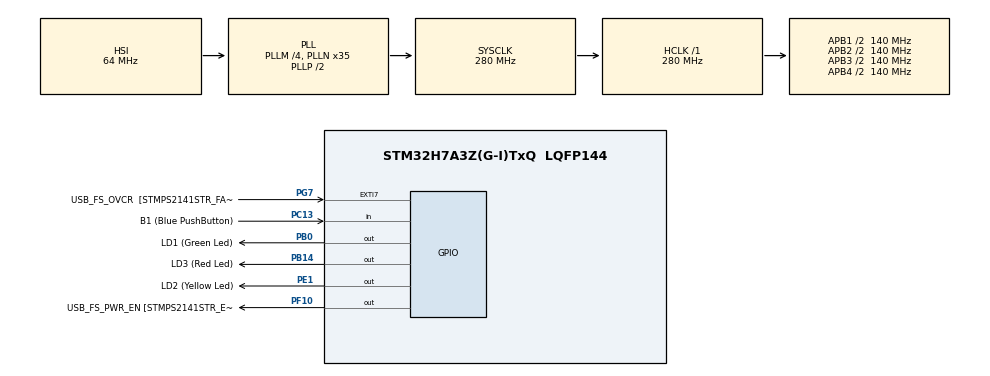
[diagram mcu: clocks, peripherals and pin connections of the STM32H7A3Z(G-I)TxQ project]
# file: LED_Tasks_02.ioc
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Mcu.Family=STM32H7
Mcu.Name=STM32H7A3Z(G-I)TxQ
Mcu.Package=LQFP144
NVIC.PriorityGroup=NVIC_PRIORITYGROUP_4
NVIC.TIM6_DAC_IRQn=true\:15\:0\:false\:false\:true\:false\:true\:true
NVIC.TimeBase=TIM6_DAC_IRQn
NVIC.TimeBaseIP=TIM6
PA10.GPIO_Label=USB_FS_ID [ZX62RD-AB-5P8_ID]
PA10.Signal=USB_OTG_HS_ID
PA11.GPIO_Label=USB_FS_N [USBLC6-2SC6_IO_1]
PA11.Signal=USB_OTG_HS_DM
PA12.GPIO_Label=USB_FS_P [USBLC6-2SC6_IO_2]
PA12.Signal=USB_OTG_HS_DP
PA9.GPIO_Label=USB_FS_VBUS  [ZX62RD-AB-5P8_VBUS]
PA9.Signal=USB_OTG_HS_VBUS
PB0.GPIO_Label=LD1 (Green Led)
PB0.Signal=GPIO_Output
PB14.GPIO_Label=LD3 (Red Led)
PB14.Signal=GPIO_Output
PC13.GPIO_Label=B1 (Blue PushButton)
PC13.Signal=GPIO_Input
PC14-OSC32_IN.GPIO_Label=OSC32_IN
PC14-OSC32_IN.Signal=RCC_OSC32_IN
PC15-OSC32_OUT.GPIO_Label=OSC32_OUT
PC15-OSC32_OUT.Signal=RCC_OSC32_OUT
PD8.GPIO_Label=STLINK_RX
PD8.Signal=USART3_TX
PD9.GPIO_Label=STLINK_TX
PD9.Signal=USART3_RX
PE1.GPIO_Label=LD2 (Yellow Led)
PE1.Signal=GPIO_Output
PF10.GPIO_Label=USB_FS_PWR_EN [STMPS2141STR_EN]
PF10.Signal=GPIO_Output
PG7.GPIO_Label=USB_FS_OVCR  [STMPS2141STR_FAULT]
PG7.Signal=GPXTI7
PH0-OSC_IN.GPIO_Label=PH0-MCU
PH0-OSC_IN.Signal=RCC_OSC_IN
PH1-OSC_OUT.GPIO_Label=PH1-MCU
PH1-OSC_OUT.Signal=RCC_OSC_OUT
ProjectManager.HeapSize=0x200
ProjectManager.StackSize=0x400
ProjectManager.TargetToolchain=STM32CubeIDE
RCC.ADCFreq_Value=129000000
RCC.APB1Freq_Value=140000000
RCC.APB2Freq_Value=140000000
RCC.APB3Freq_Value=140000000
RCC.APB4Freq_Value=140000000
RCC.CDPPRE=RCC_APB3_DIV2
RCC.CDPPRE1=RCC_APB1_DIV2
RCC.CDPPRE2=RCC_APB2_DIV2
RCC.CortexFreq_Value=280000000
RCC.DIVM1=4
RCC.DIVM3=1
RCC.DIVN1=35
RCC.DIVN3=24
RCC.DIVQ1=4
RCC.HCLKFreq_Value=280000000
RCC.HSE_VALUE=8000000
RCC.PLLFRACN=0
RCC.PWR_Regulator_Voltage_Scale=PWR_REGULATOR_VOLTAGE_SCALE0
RCC.SRDPPRE=RCC_APB4_DIV2
RCC.SYSCLKFreq_VALUE=280000000
RCC.SYSCLKSource=RCC_SYSCLKSOURCE_PLLCLK
RCC.SupplySource=PWR_DIRECT_SMPS_SUPPLY
RCC.USBCLockSelection=RCC_USBCLKSOURCE_HSI48
RCC.USBFreq_Value=48000000
VP_SYS_VS_tim6.Mode=TIM6
board=NUCLEO-H7A3ZI-Q

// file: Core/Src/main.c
/* USER CODE BEGIN Header */
/**
  ******************************************************************************
  * @file           : main.c
  * @brief          : Main program body
  ******************************************************************************
  * @attention
  *
  * Copyright (c) 2023 STMicroelectronics.
  * All rights reserved.
  *
  * This software is licensed under terms that can be found in the LICENSE file
  * in the root directory of this software component.
  * If no LICENSE file comes with this software, it is provided AS-IS.
  *
  ******************************************************************************
  */
/* USER CODE END Header */
#include "main.h"

/* USER CODE BEGIN Includes */
#include "stdio.h"
#include "stdint.h"
#include "FreeRTOS.h"
#include "task.h"
//#include "FreeRTOSConfig.h"

/* USER CODE END Includes */

/* USER CODE BEGIN PD */
#define DWT_CTRL (*(volatile uint32_t*)0xE0001000)

/* USER CODE END PD */

void SystemClock_Config(void);
static void MX_GPIO_Init(void);
/* USER CODE BEGIN PFP */

static void led1_handler(void * parameters);
static void led2_handler(void * parameters);
static void led3_handler(void * parameters);
/* USER CODE END PFP */

int main(void)
{
  /* USER CODE BEGIN 1 */
	TaskHandle_t led1_handle;
	TaskHandle_t led2_handle;
	TaskHandle_t led3_handle;
  /* USER CODE END 1 */

  /* MCU Configuration--------------------------------------------------------*/

  /* Reset of all peripherals, Initializes the Flash interface and the Systick. */
  HAL_Init();

  /* Configure the system clock */
  SystemClock_Config();

  /* Initialize all configured peripherals */
  MX_GPIO_Init();
  /* USER CODE BEGIN 2 */

  /************ Segger Initializations **********/

  //Enable CYCCNT counter to create timestamp of the Segger
  DWT_CTRL |= ( 1 << 0);

  SEGGER_SYSVIEW_Conf();

  SEGGER_SYSVIEW_Start();

  /************* Preempting all the subpriorities ********/
  /******** Suggestion for STM32 with the STM32 driver library ********/
  //NVIC_PriorityGroupConfig( NVIC_PriorityGroup_4 );
  /************** Creation of the Tasks ********/

  BaseType_t led1_status = xTaskCreate(led1_handler,"LED1_Task",200,"100",2,&led1_handle);

  configASSERT(led1_status == pdPASS);

  BaseType_t led2_status = xTaskCreate(led2_handler,"LED2_Task",200,"400",2,&led2_handle);

  configASSERT(led2_status == pdPASS);

  BaseType_t led3_status = xTaskCreate(led3_handler,"LED3_Task",200,"800",2,&led3_handle);

  configASSERT(led3_status == pdPASS);

  //Starting Scheduler
  vTaskStartScheduler();

  /* USER CODE END 2 */

  /* Infinite loop */
  while (1)
  {

  }
}

void SystemClock_Config(void)
{
  RCC_OscInitTypeDef RCC_OscInitStruct = {0};
  RCC_ClkInitTypeDef RCC_ClkInitStruct = {0};

  /*AXI clock gating */
  RCC->CKGAENR = 0xFFFFFFFF;

  /** Supply configuration update enable
  */
  HAL_PWREx_ConfigSupply(PWR_DIRECT_SMPS_SUPPLY);

  /** Configure the main internal regulator output voltage
  */
  __HAL_PWR_VOLTAGESCALING_CONFIG(PWR_REGULATOR_VOLTAGE_SCALE0);

  while(!__HAL_PWR_GET_FLAG(PWR_FLAG_VOSRDY)) {}

  /** Initializes the RCC Oscillators according to the specified parameters
  * in the RCC_OscInitTypeDef structure.
  */
  RCC_OscInitStruct.OscillatorType = RCC_OSCILLATORTYPE_HSI;
  RCC_OscInitStruct.HSIState = RCC_HSI_DIV1;
  RCC_OscInitStruct.HSICalibrationValue = 64;
  RCC_OscInitStruct.PLL.PLLState = RCC_PLL_ON;
  RCC_OscInitStruct.PLL.PLLSource = RCC_PLLSOURCE_HSI;
  RCC_OscInitStruct.PLL.PLLM = 4;
  RCC_OscInitStruct.PLL.PLLN = 35;
  RCC_OscInitStruct.PLL.PLLP = 2;
  RCC_OscInitStruct.PLL.PLLQ = 4;
  RCC_OscInitStruct.PLL.PLLR = 2;
  RCC_OscInitStruct.PLL.PLLRGE = RCC_PLL1VCIRANGE_3;
  RCC_OscInitStruct.PLL.PLLVCOSEL = RCC_PLL1VCOWIDE;
  RCC_OscInitStruct.PLL.PLLFRACN = 0;
  if (HAL_RCC_OscConfig(&RCC_OscInitStruct) != HAL_OK)
  {
    Error_Handler();
  }

  /** Initializes the CPU, AHB and APB buses clocks
  */
  RCC_ClkInitStruct.ClockType = RCC_CLOCKTYPE_HCLK|RCC_CLOCKTYPE_SYSCLK
                              |RCC_CLOCKTYPE_PCLK1|RCC_CLOCKTYPE_PCLK2
                              |RCC_CLOCKTYPE_D3PCLK1|RCC_CLOCKTYPE_D1PCLK1;
  RCC_ClkInitStruct.SYSCLKSource = RCC_SYSCLKSOURCE_PLLCLK;
  RCC_ClkInitStruct.SYSCLKDivider = RCC_SYSCLK_DIV1;
  RCC_ClkInitStruct.AHBCLKDivider = RCC_HCLK_DIV1;
  RCC_ClkInitStruct.APB3CLKDivider = RCC_APB3_DIV2;
  RCC_ClkInitStruct.APB1CLKDivider = RCC_APB1_DIV2;
  RCC_ClkInitStruct.APB2CLKDivider = RCC_APB2_DIV2;
  RCC_ClkInitStruct.APB4CLKDivider = RCC_APB4_DIV2;

  if (HAL_RCC_ClockConfig(&RCC_ClkInitStruct, FLASH_LATENCY_7) != HAL_OK)
  {
    Error_Handler();
  }
}

static void MX_GPIO_Init(void)
{
  GPIO_InitTypeDef GPIO_InitStruct = {0};

  /* GPIO Ports Clock Enable */
  __HAL_RCC_GPIOC_CLK_ENABLE();
  __HAL_RCC_GPIOF_CLK_ENABLE();
  __HAL_RCC_GPIOH_CLK_ENABLE();
  __HAL_RCC_GPIOB_CLK_ENABLE();
  __HAL_RCC_GPIOD_CLK_ENABLE();
  __HAL_RCC_GPIOG_CLK_ENABLE();
  __HAL_RCC_GPIOA_CLK_ENABLE();
  __HAL_RCC_GPIOE_CLK_ENABLE();

  /*Configure GPIO pin Output Level */
  HAL_GPIO_WritePin(USB_FS_PWR_EN_GPIO_Port, USB_FS_PWR_EN_Pin, GPIO_PIN_RESET);

  /*Configure GPIO pin Output Level */
  HAL_GPIO_WritePin(GPIOB, LD1_Pin|LD3_Pin, GPIO_PIN_RESET);

  /*Configure GPIO pin Output Level */
  HAL_GPIO_WritePin(LD2_GPIO_Port, LD2_Pin, GPIO_PIN_RESET);

  /*Configure GPIO pin : B1_Pin */
  GPIO_InitStruct.Pin = B1_Pin;
  GPIO_InitStruct.Mode = GPIO_MODE_INPUT;
  GPIO_InitStruct.Pull = GPIO_NOPULL;
  HAL_GPIO_Init(B1_GPIO_Port, &GPIO_InitStruct);

  /*Configure GPIO pin : USB_FS_PWR_EN_Pin */
  GPIO_InitStruct.Pin = USB_FS_PWR_EN_Pin;
  GPIO_InitStruct.Mode = GPIO_MODE_OUTPUT_PP;
  GPIO_InitStruct.Pull = GPIO_NOPULL;
  GPIO_InitStruct.Speed = GPIO_SPEED_FREQ_LOW;
  HAL_GPIO_Init(USB_FS_PWR_EN_GPIO_Port, &GPIO_InitStruct);

  /*Configure GPIO pins : LD1_Pin LD3_Pin */
  GPIO_InitStruct.Pin = LD1_Pin|LD3_Pin;
  GPIO_InitStruct.Mode = GPIO_MODE_OUTPUT_PP;
  GPIO_InitStruct.Pull = GPIO_NOPULL;
  GPIO_InitStruct.Speed = GPIO_SPEED_FREQ_LOW;
  HAL_GPIO_Init(GPIOB, &GPIO_InitStruct);

  /*Configure GPIO pins : STLINK_RX_Pin STLINK_TX_Pin */
  GPIO_InitStruct.Pin = STLINK_RX_Pin|STLINK_TX_Pin;
  GPIO_InitStruct.Mode = GPIO_MODE_AF_PP;
  GPIO_InitStruct.Pull = GPIO_NOPULL;
  GPIO_InitStruct.Speed = GPIO_SPEED_FREQ_LOW;
  GPIO_InitStruct.Alternate = GPIO_AF7_USART3;
  HAL_GPIO_Init(GPIOD, &GPIO_InitStruct);

  /*Configure GPIO pin : USB_FS_OVCR_Pin */
  GPIO_InitStruct.Pin = USB_FS_OVCR_Pin;
  GPIO_InitStruct.Mode = GPIO_MODE_IT_RISING;
  GPIO_InitStruct.Pull = GPIO_NOPULL;
  HAL_GPIO_Init(USB_FS_OVCR_GPIO_Port, &GPIO_InitStruct);

  /*Configure GPIO pin : USB_FS_ID_Pin */
  GPIO_InitStruct.Pin = USB_FS_ID_Pin;
  GPIO_InitStruct.Mode = GPIO_MODE_AF_PP;
  GPIO_InitStruct.Pull = GPIO_NOPULL;
  GPIO_InitStruct.Speed = GPIO_SPEED_FREQ_LOW;
  GPIO_InitStruct.Alternate = GPIO_AF10_OTG1_HS;
  HAL_GPIO_Init(USB_FS_ID_GPIO_Port, &GPIO_InitStruct);

  /*Configure GPIO pins : USB_FS_N_Pin USB_FS_P_Pin */
  GPIO_InitStruct.Pin = USB_FS_N_Pin|USB_FS_P_Pin;
  GPIO_InitStruct.Mode = GPIO_MODE_AF_PP;
  GPIO_InitStruct.Pull = GPIO_NOPULL;
  GPIO_InitStruct.Speed = GPIO_SPEED_FREQ_LOW;
  HAL_GPIO_Init(GPIOA, &GPIO_InitStruct);

  /*Configure GPIO pin : LD2_Pin */
  GPIO_InitStruct.Pin = LD2_Pin;
  GPIO_InitStruct.Mode = GPIO_MODE_OUTPUT_PP;
  GPIO_InitStruct.Pull = GPIO_NOPULL;
  GPIO_InitStruct.Speed = GPIO_SPEED_FREQ_LOW;
  HAL_GPIO_Init(LD2_GPIO_Port, &GPIO_InitStruct);

}

/* USER CODE BEGIN 4 */

static void led1_handler(void * parameters){

	while(1){
	HAL_GPIO_TogglePin(LD1_GPIO_Port, LD1_Pin);
	SEGGER_SYSVIEW_PrintfTarget("Toggling green LED1");
	HAL_Delay(1000);

	}
}

static void led2_handler(void * parameters){

	while(1){
	HAL_GPIO_TogglePin(LD2_GPIO_Port, LD2_Pin);
	SEGGER_SYSVIEW_PrintfTarget("Toggling LED 2");
	HAL_Delay(800);
	}

}

static void led3_handler(void * parameters){

	while(1){
	HAL_GPIO_TogglePin(LD3_GPIO_Port, LD3_Pin);
	SEGGER_SYSVIEW_PrintfTarget("Toggling LED 3");
	HAL_Delay(400);
	}

}

/* USER CODE END 4 */

void HAL_TIM_PeriodElapsedCallback(TIM_HandleTypeDef *htim)
{
  if (htim->Instance == TIM6) {
    HAL_IncTick();
  }
}

void Error_Handler(void)
{
  __disable_irq();
  while (1)
  {
  }
}
